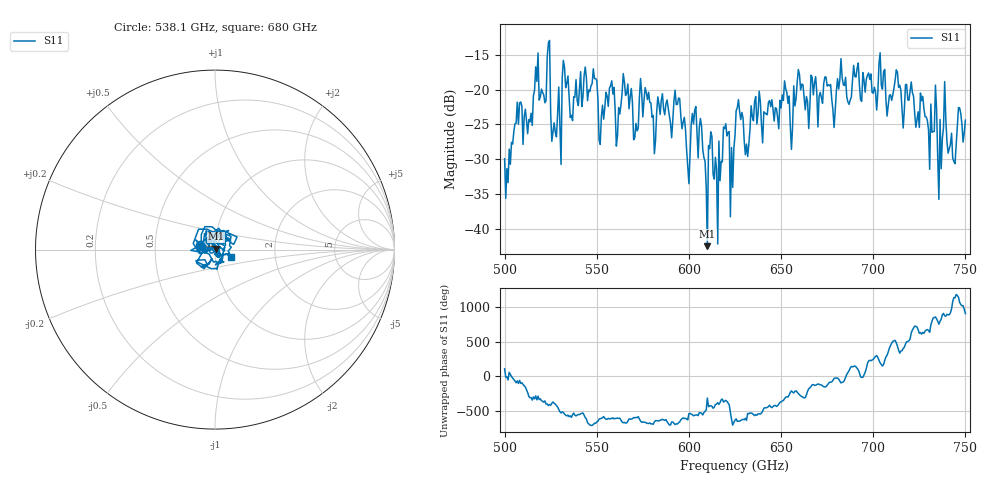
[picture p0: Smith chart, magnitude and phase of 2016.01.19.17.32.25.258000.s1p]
!Created with skrf (http://scikit-rf.org).
# GHz S RI R 50.0
!freq ReS11 ImS11
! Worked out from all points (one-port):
!   401 points, 500 GHz to 750 GHz, reference 50 ohm
!   lowest |S11| = -42.5 dB at 610 GHz (marker M1), VSWR 1.02, Z = 50.5 + j0.572 ohm
!   |S11| at or under -10 dB: start of sweep to end of sweep
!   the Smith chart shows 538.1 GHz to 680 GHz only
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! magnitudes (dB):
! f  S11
! 500 GHz  -29.9
! 508.1 GHz  -21.9
! 513.8 GHz  -24.6
! 516.9 GHz  -16.7
! 523.8 GHz  -13.3
! 526.9 GHz  -24.8
! 531.2 GHz  -18.3
! 548.8 GHz  -18.4
! 552.5 GHz  -23.9
! 558.1 GHz  -18.7
! 562.5 GHz  -23.5
! 593.8 GHz  -22.1
! 599.4 GHz  -31.2
! 602.5 GHz  -24.9
! 610 GHz  -42.5
! 623.8 GHz  -34.1
! 625 GHz  -26.6
! 651.9 GHz  -18.7
! 656.2 GHz  -25.2
! 660 GHz  -17.9
! 687.5 GHz  -21.5
! 690.6 GHz  -18.2
! 718.8 GHz  -21.4
! 733.1 GHz  -26.0
! 736.2 GHz  -24.3
! 738.8 GHz  -18.8
! 743.1 GHz  -29.9
! 750 GHz  -24.4
